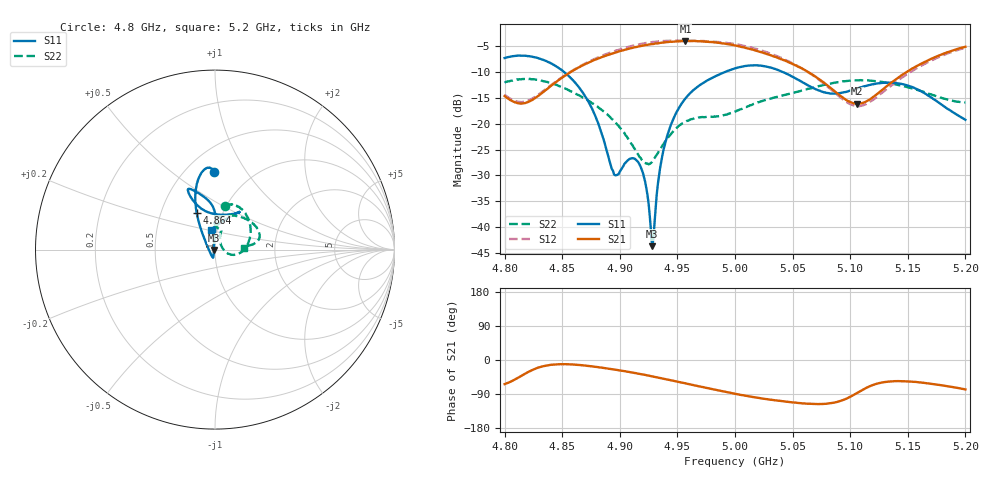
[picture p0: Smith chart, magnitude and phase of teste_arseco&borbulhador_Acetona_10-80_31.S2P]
! Network Analyzer HP8722D
! Hewlett-Packard
! Data name: Linha & Wilkinson
! Saver's name: Rodrigo Anjos
! Comments: Teste da utilização de aquisição
! continua pelo VNA HP8722D
! Time and date: 25/4/2025 15:31
!  Frequency  S11  S21  S12  S22
# HZ  S  MA R 50
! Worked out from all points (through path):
!   401 points, 4.8 GHz to 5.2 GHz, reference 50 ohm
!   highest |S21| = -3.95 dB at 4.957 GHz (marker M1); lowest = -16.1 dB at 5.106 GHz (marker M2)
!   lowest |S11| = -43.7 dB at 4.928 GHz (marker M3), VSWR 1.01, Z = 49.4 - j0.202 ohm
!   |S11| at or under -10 dB: 4.852 GHz to 4.991 GHz (139.1 MHz wide, 2.83 % of centre); 5.042 GHz to end of sweep
!   |S22| runs from -27.8 to -11.3 dB; largest |S21 - S12| = 1.2
!   S11 on the Smith chart (normalised r, x): 4.8 GHz: 0.68, +0.72; 4.864 GHz: 0.75, +0.33; 5.2 GHz: 0.94, +0.20
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4.8e9  0.4335 90.5  0.1858 -63.6  0.1909 69.8  0.2499 77.1
4.82e9  0.4524 96.7  0.1619 -32.4  0.1674 98.5  0.2732 61.7
4.843e9  0.3709 106.1  0.246 -12.0  0.2497 118.8  0.2437 36.9
4.864e9  0.2301 116.4  0.3508 -12.9  0.3539 121.0  0.1903 11.9
4.867e9  0.2068 118.1  0.3652 -13.9  0.368 120.5  0.1826 8.4
4.88e9  0.1094 128.6  0.4234 -18.5  0.4339 118.2  0.1479 -5.4
4.895e9  0.03231 -171.1  0.4852 -24.9  0.5033 113.7  0.1071 -15.9
4.91e9  0.04637 -104.9  0.5406 -32.5  0.5657 107.0  0.06409 -14.3
4.917e9  0.04069 -102.7  0.5635 -36.6  0.5912 103.4  0.04797 -1.5
4.922e9  0.0275 -104.8  0.5776 -39.3  0.6056 100.8  0.04176 15.7
4.928e9  0.006544 -161.8  0.5927 -43.2  0.6192 97.0  0.04281 41.3
4.93e9  0.01055 124.9  0.5969 -44.4  0.6209 95.7  0.04638 48.7
4.934e9  0.03127 99.5  0.6051 -47.0  0.6299 93.1  0.05446 58.2
4.943e9  0.08826 90.4  0.6218 -52.6  0.6376 87.4  0.07627 69.3
4.957e9  0.1761 89.1  0.6349 -61.5  0.6398 78.4  0.1049 71.8
5e9  0.3443 108.9  0.5733 -89.2  0.5935 50.6  0.1318 88.8
5.03e9  0.3526 114.9  0.4647 -104.4  0.4807 33.7  0.174 85.4
5.067e9  0.2251 105.1  0.3007 -116.0  0.298 23.5  0.2225 57.1
5.106e9  0.2197 64.1  0.1565 -87.0  0.1484 56.1  0.2635 24.8
5.134e9  0.25 56.7  0.2418 -56.8  0.2275 88.6  0.2478 12.3
5.169e9  0.1842 69.5  0.4192 -62.1  0.4029 84.8  0.1945 6.8
5.2e9  0.1095 100.3  0.5576 -77.7  0.5453 70.1  0.1608 3.9
